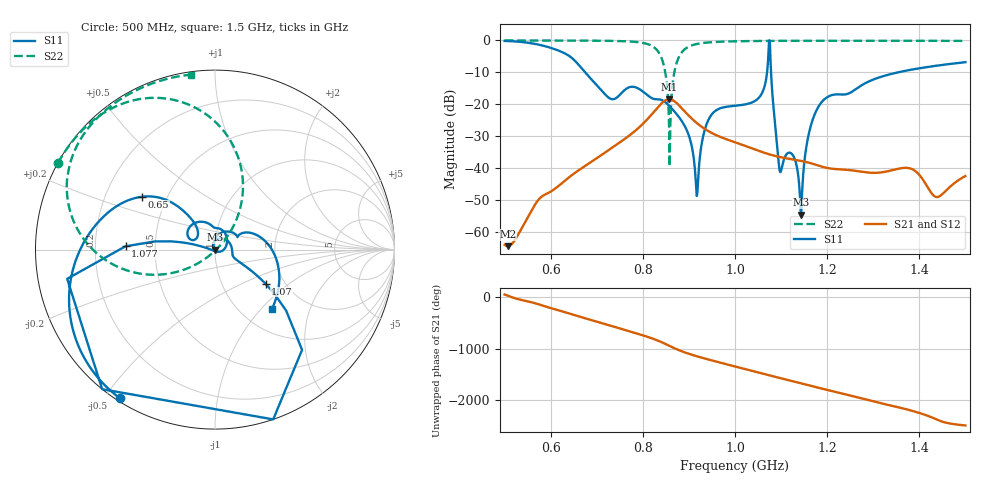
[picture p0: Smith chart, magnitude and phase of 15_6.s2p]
! TOUCHSTONE file generated by CST MICROWAVE STUDIO
! Date and time: Fri Oct  2 18:56:36 2020
! Project name: Scenario_1_Free_Space_out_of_line.cst
! Parameters = {Lambda=346.42; Step_1=17.321; dy1=104.866; dx1=1039; L_HA=400; MT=2.54; Rad_Dielectric=30; Rad_Lower=7.3; Rad_Upper=30; a_HA=580; a_WG=246; b_HA=500; b_WG=121; c_HA=0; c_WG=187; d_feed=85; h_feed=15; h_lower=18; h_upper=40}
! Header version: 2018
! Port assignment regex: !\s*Touchstone port\s*([0-9]+)\s*=\s*(CST MWS port|CST DS port)\s*([0-9]+|Zmin|Zmax)\s*\(\"(.*)\"\)(\s*mode\s*([0-9]+))?.*
! Touchstone port assignment:
! Touchstone port 1 = CST MWS port 1 ("")
! Touchstone port 2 = CST MWS port 2 ("")
# GHz S DB R 50
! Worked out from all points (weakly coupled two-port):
!   1003 points, 500 MHz to 1.5 GHz, reference 50 ohm
!   highest |S21| = -18.37 dB at 857 MHz (marker M1); lowest = -64.3 dB at 507 MHz (marker M2)
!   lowest |S11| = -54.4 dB at 1.143 GHz (marker M3), VSWR 1.00, Z = 49.8 - j0.115 ohm
!   |S11| at or under -10 dB: 674.8 MHz to 1.07 GHz (394.8 MHz wide, 45.3 % of centre); 1.078 GHz to 1.353 GHz (274.6 MHz wide, 22.6 % of centre)
!   |S22| runs from -39.4 to 0.0 dB; largest |S21 - S12| = 3.8e-05
!   S11 on the Smith chart (normalised r, x): 500 MHz: 0.01, -0.55; 650 MHz: 0.36, +0.29; 1.07 GHz: 1.60, -0.69; 1.077 GHz: 0.33, +0.02; 1.5 GHz: 1.38, -1.15
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0.5  -0.15 -122.5  -63.87 45.3  -63.87 45.3  -0.01 151.1
0.507  -0.18 -125.6  -64.29 22.9  -64.30 22.9  -0.01 150.7
0.582  -1.58 -165.9  -48.64 -168.1  -48.64 -168.2  -0.02 145.4
0.65  -5.98 144.1  -41.65 11.3  -41.65 11.3  -0.03 139.9
0.667  -8.69 133.2  -39.95 -33.7  -39.95 -33.7  -0.04 138.3
0.73  -18.23 142.1  -33.84 162.6  -33.84 162.6  -0.13 130.7
0.834  -18.40 82.7  -20.67 -130.9  -20.67 -130.9  -3.64 85.4
0.857  -20.39 47.6  -18.37 134.9  -18.37 134.9  -27.14 40.0
0.877  -23.68 18.5  -20.07 53.0  -20.07 53.0  -5.56 -168.3
0.917  -48.61 -124.4  -25.79 -68.4  -25.79 -68.4  -1.10 159.4
0.944  -24.34 76.1  -28.48 -135.8  -28.48 -135.8  -0.60 150.4
1  -20.41 -2.0  -31.82 93.1  -31.82 93.1  -0.26 140.2
1.053  -17.71 -25.3  -34.57 -28.9  -34.57 -28.9  -0.16 134.1
1.07  -9.39 -34.0  -35.39 -67.8  -35.39 -67.8  -0.14 132.4
1.077  -6.04 177.9  -35.68 -83.7  -35.68 -83.7  -0.14 131.7
1.097  -40.72 -132.3  -36.42 -129.1  -36.42 -129.1  -0.12 129.9
1.124  -35.56 -57.3  -37.14 169.7  -37.14 169.7  -0.11 127.6
1.143  -54.45 -142.7  -37.62 126.3  -37.62 126.3  -0.10 126.1
1.167  -25.46 94.1  -38.47 71.2  -38.46 71.2  -0.10 124.2
1.334  -10.66 6.9  -40.80 66.0  -40.80 66.0  -0.09 111.4
1.438  -7.88 -27.8  -48.93 144.8  -48.87 144.8  -0.11 103.2
1.5  -6.79 -46.0  -42.37 31.8  -42.37 32.1  -0.14 97.9
